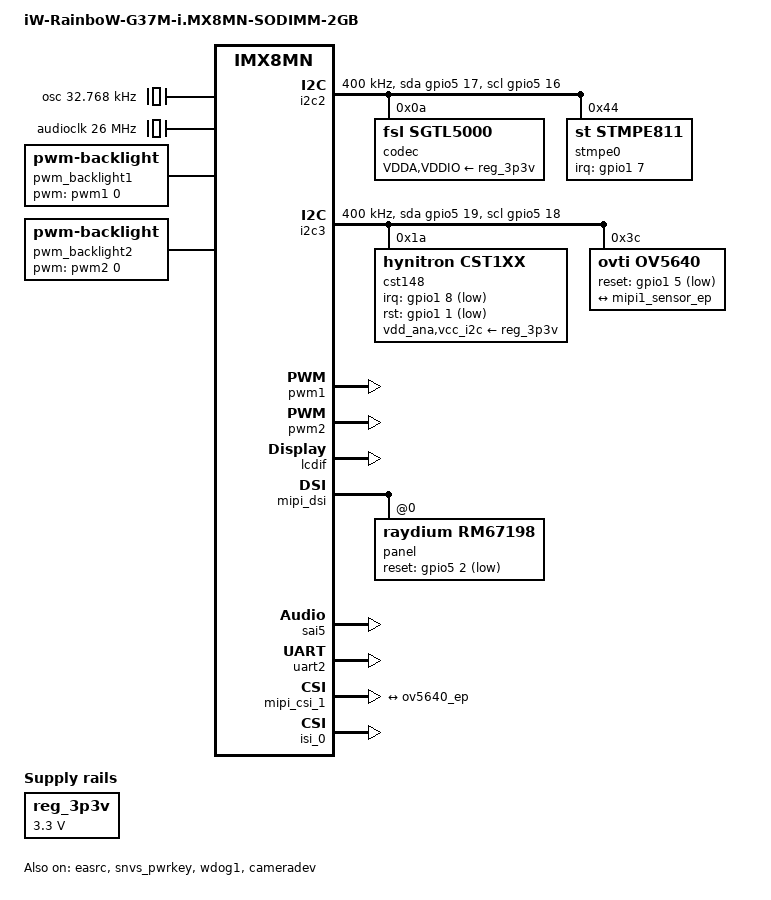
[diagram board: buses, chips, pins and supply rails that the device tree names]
/*
 * Copyright (C) 2020 iWave System Technologies Pvt Ltd.
 *
 * This program is free software; you can redistribute it and/or
 * modify it under the terms of the GNU General Public License
 * as published by the Free Software Foundation; either version 2
 * of the License, or (at your option) any later version.
 *
 * This program is distributed in the hope that it will be useful,
 * but WITHOUT ANY WARRANTY; without even the implied warranty of
 * MERCHANTABILITY or FITNESS FOR A PARTICULAR PURPOSE.  See the
 * GNU General Public License for more details.
 */

/dts-v1/;

#include "imx8mn-iwg37m_2gb.dts"

/ {
	model = "iW-RainboW-G37M-i.MX8MN-SODIMM-2GB";
	compatible = "fsl,imx8mn-iwg37m", "fsl,imx8mn";

	/* external oscillator node */
	osc: oscillator {
		compatible = "fixed-clock";
		#clock-cells = <1>;
		clock-frequency  = <32768>;
		clock-output-names = "osc";
	};

	audioclk: ext26Mz { /* SAI5: Clock Configuration */
		compatible = "fixed-clock";
		clock-frequency = <26000000>;
		#clock-cells = <0>;
	};

	regulators {
		compatible = "simple-bus";
		#address-cells = <1>;
		#size-cells = <0>;

		reg_3p3v: 3p3v { /* Fixed Regulator: common 3.3V Fixed regulator */
			compatible = "regulator-fixed";
			regulator-name = "3P3V";
			regulator-min-microvolt = <3300000>;
			regulator-max-microvolt = <3300000>;
			regulator-always-on;
		};
	};

	pwm_backlight1: pwm-backlight1 { /* PWM: PWM1 backlight Control */
		compatible = "pwm-backlight";
		pinctrl-names = "default";
		pinctrl-0 = <&pinctrl_pwm1>;
		pwms = <&pwm1 0 100000 0>;

		brightness-levels = < 0 1 2 3 4 5 6 7 8 9
				10 11 12 13 14 15 16 17 18 19
				20 21 22 23 24 25 26 27 28 29
				30 31 32 33 34 35 36 37 38 39
				40 41 42 43 44 45 46 47 48 49
				50 51 52 53 54 55 56 57 58 59
				60 61 62 63 64 65 66 67 68 69
				70 71 72 73 74 75 76 77 78 79
				80 81 82 83 84 85 86 87 88 89
				90 91 92 93 94 95 96 97 98 99
				100>;
		default-brightness-level = <100>;
		status = "okay";
	};

	pwm_backlight2: pwm-backlight2 { /* PWM: PWM2 backlight Control */
		compatible = "pwm-backlight";
		pinctrl-names = "default";
		pinctrl-0 = <&pinctrl_pwm2>;
		pwms = <&pwm2 0 100000 0>;

		brightness-levels = < 0 1 2 3 4 5 6 7 8 9
				10 11 12 13 14 15 16 17 18 19
				20 21 22 23 24 25 26 27 28 29
				30 31 32 33 34 35 36 37 38 39
				40 41 42 43 44 45 46 47 48 49
				50 51 52 53 54 55 56 57 58 59
				60 61 62 63 64 65 66 67 68 69
				70 71 72 73 74 75 76 77 78 79
				80 81 82 83 84 85 86 87 88 89
				90 91 92 93 94 95 96 97 98 99
				100>;
		default-brightness-level = <100>;
		status = "okay";
	};

	carrier_revision {
                compatible = "carrier_revision";
                pinctrl-names = "default";
                a = <0x00>;
                status = "okay";
        };

	sound { /* SAI5: SGTL5000: Audio Codec support */
		compatible = "fsl,imx-audio-sgtl5000";
		model = "sgtl5000-audio";
		ssi-controller = <&sai5>;
		audio-codec = <&codec>;
		audio-routing = "MIC_IN", "Mic Jack",
				"Mic Jack", "Mic Bias",
				"Headphone Jack", "HP_OUT",
				"LINE_IN", "Line In Jack";
	};
};

&clk {
	assigned-clocks = <&clk IMX8MN_AUDIO_PLL1>, <&clk IMX8MN_AUDIO_PLL2>;
	assigned-clock-rates = <393216000>, <361267200>;
};

&easrc {
	fsl,asrc-rate  = <48000>;
	status = "okay";
};

&iomuxc {
	pinctrl-names = "default";
	pinctrl-0 = <&pinctrl_hog>;

	imx8mn-iwg37m {
		pinctrl_hog: hoggrp { /* iWave hog Pin Configuration */
			fsl,pins = <
				/* GPIO: Expansion Header GPIO IOMUX Pin Configuration */
				MX8MN_IOMUXC_GPIO1_IO06_GPIO1_IO6		0x41
				/* GPIO: GPIO Header GPIO IOMUX Pin Configuration */
				MX8MN_IOMUXC_SAI5_RXFS_GPIO3_IO19		0x41
				MX8MN_IOMUXC_SAI5_RXC_GPIO3_IO20		0x41
			>;
		};

		pinctrl_i2c2: i2c2grp { /* I2C2: IOMUX Pin Configuration */
			fsl,pins = <
				MX8MN_IOMUXC_I2C2_SCL_I2C2_SCL			0x400001c3
				MX8MN_IOMUXC_I2C2_SDA_I2C2_SDA			0x400001c3
			>;
		};

		pinctrl_i2c3: i2c3grp { /* I2C3: IOMUX Pin Configuration */
			fsl,pins = <
				MX8MN_IOMUXC_I2C3_SCL_I2C3_SCL			0x400001c3
				MX8MN_IOMUXC_I2C3_SDA_I2C3_SDA			0x400001c3
			>;
		};

		pinctrl_i2c2_gpio: i2c2grp-gpio { /* I2C2: I2C GPIO IOMUX Pin Configuration */
			fsl,pins = <
				MX8MN_IOMUXC_I2C2_SCL_GPIO5_IO16		0x1c3
				MX8MN_IOMUXC_I2C2_SDA_GPIO5_IO17		0x1c3
			>;
		};

		pinctrl_i2c3_gpio: i2c3grp-gpio { /* I2C3: I2C GPIO IOMUX Pin Configuration */
			fsl,pins = <
				MX8MN_IOMUXC_I2C3_SCL_GPIO5_IO18		0x1c3
				MX8MN_IOMUXC_I2C3_SDA_GPIO5_IO19		0x1c3
			>;
		};

		pinctrl_ts_active: tsgrp { /* MIPI DSI: Touch: IOMUX Pin Configuration */
			fsl,pins = <
				MX8MN_IOMUXC_GPIO1_IO01_GPIO1_IO1		0x154 /* Touch Interface Reset GPIO */
				MX8MN_IOMUXC_GPIO1_IO08_GPIO1_IO8		0x41  /* Touch Interface Interrupt GPIO */
			>;
		};

		pinctrl_stmpe: stmpeirq { /* STMPE: IOMUX Pin Configuration */
                        fsl,pins = <
				MX8MN_IOMUXC_GPIO1_IO07_GPIO1_IO7		0x41
                        >;
                };

		pinctrl_sai5: sai5grp { /* SAI5: IOMUX Pin Configuration */
			fsl,pins = <
				MX8MN_IOMUXC_SAI5_MCLK_SAI5_MCLK		0xd6
				MX8MN_IOMUXC_SAI5_RXD2_SAI5_TX_BCLK		0xd6
				MX8MN_IOMUXC_SAI5_RXD1_SAI5_TX_SYNC		0xd6
				MX8MN_IOMUXC_SAI5_RXD3_SAI5_TX_DATA0		0xd6
				MX8MN_IOMUXC_SAI5_RXD0_SAI5_RX_DATA0    	0xd6
			>;
		};

		pinctrl_uart2: uart2grp { /* UART2: DATA UART: IOMUX Pin Configuration */
			fsl,pins = <
				MX8MN_IOMUXC_SAI3_TXC_UART2_DCE_TX		0x140
				MX8MN_IOMUXC_SAI3_TXFS_UART2_DCE_RX		0x140
				MX8MN_IOMUXC_SAI3_RXC_UART2_DCE_CTS_B		0x140
				MX8MN_IOMUXC_SAI3_RXD_UART2_DCE_RTS_B		0x140
			>;
		};

		pinctrl_wdog: wdoggrp { /* WATCHDOG: IOMUX Pin Configuration */
			fsl,pins = <
				MX8MN_IOMUXC_GPIO1_IO02_WDOG1_WDOG_B		0xc6
			>;
		};

		pinctrl_mipi_dsi_en: mipi_dsi_en { /* MIPI DSI: LCD IOMUX Pin Configuration */
			fsl,pins = <
				MX8MN_IOMUXC_SAI3_MCLK_GPIO5_IO2		0x16 /* MIPI LCD Reset GPIO */
			>;
		};

		pinctrl_csi_rst: csi_rst_grp { /* MIPI CSI: OV5640 Camera IOMUX Pin Configuration */
			fsl,pins = <
				MX8MN_IOMUXC_GPIO1_IO05_GPIO1_IO5		0x19 /* MIPI OV5640 Camera Reset GPIO */
			>;
		};

		pinctrl_pwm1: pwm1grp { /* PWM: PWM1 IOMUX Pin Configuration */
			fsl,pins = <
				MX8MN_IOMUXC_I2C4_SDA_PWM1_OUT			0x400001c3
			>;
		};

		pinctrl_pwm2: pwm2grp { /* PWM: PWM2 IOMUX Pin Configuration */
			fsl,pins = <
				MX8MN_IOMUXC_I2C4_SCL_PWM2_OUT			0x400001c3
			>;
		};
	};
};

&i2c2 { /* I2C: I2C2 Bus */
	clock-frequency = <400000>;
	pinctrl-names = "default", "gpio";
	pinctrl-0 = <&pinctrl_i2c2>;
	pinctrl-1 = <&pinctrl_i2c2_gpio>;
	scl-gpios = <&gpio5 16 GPIO_ACTIVE_HIGH>;
	sda-gpios = <&gpio5 17 GPIO_ACTIVE_HIGH>;
	status = "okay";

	codec: sgtl5000@a { /* Audio: SGTL5000 Audio Codec */
		compatible = "fsl,sgtl5000";
		reg = <0x0a>;
		clocks = <&audioclk 0>;
		VDDA-supply = <&reg_3p3v>;
		VDDIO-supply = <&reg_3p3v>;
		status = "okay";
	};

	stmpe0: stmpe811@44 { /* STMPE811: Carrier Board GPIO Expander */
                compatible = "st,stmpe811";
		#address-cells = <1>;
		#size-cells = <0>;
		reg = <0x44>;
		pinctrl-names = "default";
		pinctrl-0 = <&pinctrl_stmpe>;
		irq-gpio = <&gpio1 7 IRQ_TYPE_EDGE_RISING>;
	
		stmpe_gpio0: stmpe_gpio {
			compatible = "st,stmpe-gpio";
			#gpio-cells = <2>;
			gpio-controller;
		};
	};
};

&i2c3 { /* I2C: I2C3 Bus */
	clock-frequency = <400000>;
	pinctrl-names = "default", "gpio";
	pinctrl-0 = <&pinctrl_i2c3>;
	pinctrl-1 = <&pinctrl_i2c3_gpio>;
	scl-gpios = <&gpio5 18 GPIO_ACTIVE_HIGH>;
	sda-gpios = <&gpio5 19 GPIO_ACTIVE_HIGH>;
	status = "okay";

	cst148@1a { /* Touch: Hynitron Touch panel (1080p display) */
		compatible = "hynitron,cst1xx";
		reg = <0x1a>;
		vdd_ana-supply = <&reg_3p3v>;
		vcc_i2c-supply = <&reg_3p3v>;
		hynitron,panel-coords = <0 1080 0 1920>;
		hynitron,display-coords = <0 1080 0 1920>;
		pinctrl-names = "default";
		pinctrl-0 = <&pinctrl_ts_active>;
		hynitron,irq-gpio = <&gpio1 8 GPIO_ACTIVE_LOW>;
		hynitron,rst-gpio = <&gpio1 1 GPIO_ACTIVE_LOW>;
		report_type = <1>;
		status = "okay";
        };

	ov5640: ov5640_mipi@3c { /* MIPI CSI: OV5640 Camera */
		compatible = "ovti,ov5640";
		reg = <0x3c>;
		pinctrl-names = "default";
		pinctrl-0 = <&pinctrl_csi_rst>;
		clocks = <&clk IMX8MN_CLK_CLKO1>;
		clock-names = "xclk";
		assigned-clocks = <&clk IMX8MN_CLK_CLKO1>;
		assigned-clock-parents = <&clk IMX8MN_CLK_24M>;
		assigned-clock-rates = <24000000>;
		csi_id = <0>;
		reset-gpios = <&gpio1 5 GPIO_ACTIVE_LOW>;
		mclk = <24000000>;
		mclk_source = <0>;
		mipi_csi;
		status = "okay";
		port {
			ov5640_ep: endpoint {
				remote-endpoint = <&mipi1_sensor_ep>;
				data-lanes = <1 2>;
				clocks-lanes = <0>;
			};
		};
	};
};

&pwm1 { /* PWM: PWM1 Control */
        status = "okay";
};

&pwm2 { /* PWM: PWM2 Control */
        status = "okay";
};

&lcdif {
	status = "okay";
};

&mipi_dsi { /* MIPI DSI: 1080p MIPI Display */
	status = "okay";

	panel@0 {
		compatible = "raydium,rm67198";
		reg = <0>;
		pinctrl-0 = <&pinctrl_mipi_dsi_en>;
		reset-gpio = <&gpio5 2 GPIO_ACTIVE_LOW>;
		dsi-lanes = <4>;
		video-mode = <1>;/* 0: burst mode
				  * 1: non-burst mode with sync event
				  * 2: non-burst mode with sync pulse
				  */
		panel-width-mm = <68>;
		panel-height-mm = <122>;
		status = "okay";
	};
};


&sai5 { /* SAI5: Serial Audio Interface for Audio Codec */
	pinctrl-names = "default";
	pinctrl-0 = <&pinctrl_sai5>;
	assigned-clocks = <&clk IMX8MN_CLK_SAI5>;
	assigned-clock-parents = <&clk IMX8MN_AUDIO_PLL1_OUT>;
	assigned-clock-rates = <49152000>;
	clocks = <&clk IMX8MN_CLK_SAI5_IPG>, <&clk IMX8MN_CLK_DUMMY>,
		<&clk IMX8MN_CLK_SAI5_ROOT>, <&clk IMX8MN_CLK_DUMMY>,
		<&clk IMX8MN_CLK_DUMMY>, <&clk IMX8MN_AUDIO_PLL1_OUT>,
		<&clk IMX8MN_AUDIO_PLL2_OUT>;
	clock-names = "bus", "mclk0", "mclk1", "mclk2", "mclk3", "pll8k", "pll11k";
	status = "okay";
};

&snvs_pwrkey {
	status = "okay";
};

&uart2 { /* UART2: Data UART */
	pinctrl-names = "default";
	pinctrl-0 = <&pinctrl_uart2>;
	assigned-clocks = <&clk IMX8MN_CLK_UART2>;
	assigned-clock-parents = <&clk IMX8MN_SYS_PLL1_80M>;
	fsl,uart-has-rtscts;
	status = "okay";
};

&wdog1 { /* Watchdog */
	pinctrl-names = "default";
	pinctrl-0 = <&pinctrl_wdog>;
	fsl,ext-reset-output;
	status = "okay";
};

&mipi_csi_1 { /* MIPI CSI: OV5640 MIPI Camera */
	#address-cells = <1>;
	#size-cells = <0>;
	status = "okay";
	port@0 {
		reg = <0>;
		mipi1_sensor_ep: endpoint {
			remote-endpoint = <&ov5640_ep>;
			data-lanes = <2>;
			csis-hs-settle = <13>;
			csis-clk-settle = <2>;
			csis-wclk;
		};
	};
};

&isi_0 { /* Multimedia: Image Sensing Interface */
	status = "okay";
	cap_device {
		status = "okay";
	};
};

&cameradev { /* Multimedia: Camera device */
	status = "okay";
};
